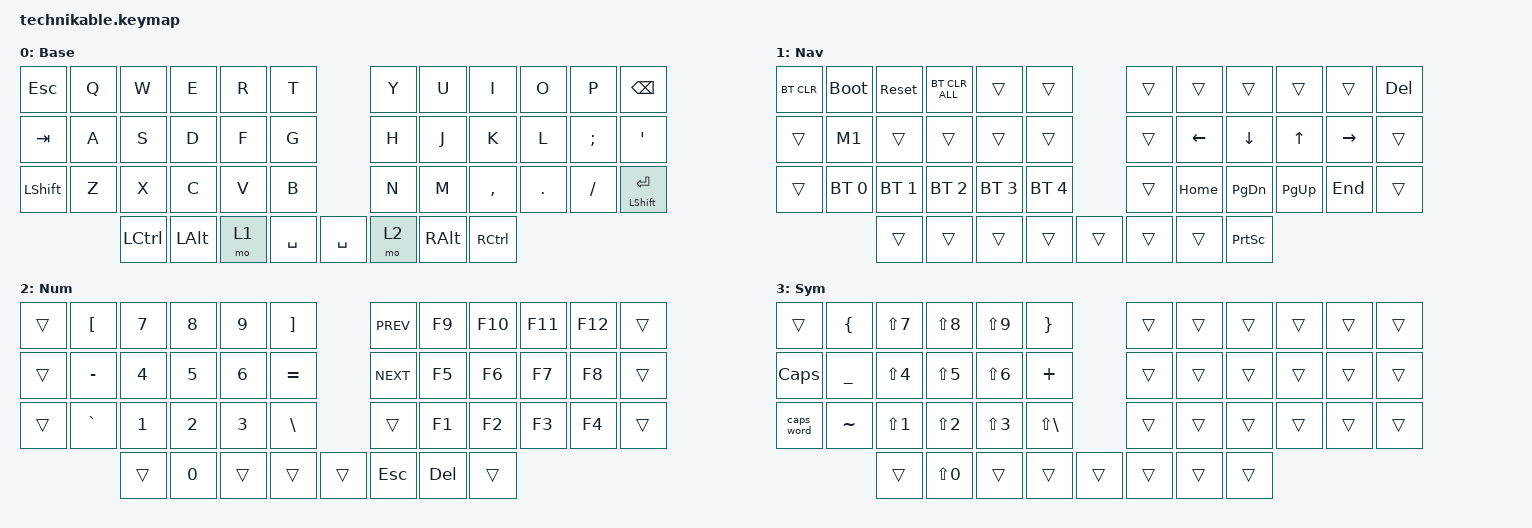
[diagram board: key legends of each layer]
/*
 * Copyright (c) 2022 Pete Johanson
 *
 * SPDX-License-Identifier: MIT
 */

#include <behaviors.dtsi>
#include <dt-bindings/zmk/bt.h>
#include <dt-bindings/zmk/keys.h>

#define BAS_L 0
#define NAV_L 1
#define NUM_L 2
#define SYM_L 3

// Using layer taps on thumbs, having quick tap as well helps w/ repeating space/backspace

&lt { quick_tap_ms = <200>; };

/ {
    chosen { zmk,matrix_transform = &ortho_transform; };

    conditional_layers {
        compatible = "zmk,conditional-layers";

        tri_layer {
            if-layers = <1 2>;
            then-layer = <3>;
        };
    };

    macros {
        M1: M1 {
            compatible = "zmk,behavior-macro";
            #binding-cells = <0>;
            bindings = <&kp PRCNT &kp U &kp S &kp E &kp R &kp N &kp A &kp M &kp E &kp PRCNT>;
            label = "M1";
        };
    };

    keymap {
        compatible = "zmk,keymap";

        base_layer {
            label = "Base";
            bindings = <
&kp ESC    &kp Q  &kp W      &kp E     &kp R  &kp T                 &kp Y  &kp U     &kp I      &kp O    &kp P     &kp BACKSPACE
&kp TAB    &kp A  &kp S      &kp D     &kp F  &kp G                 &kp H  &kp J     &kp K      &kp L    &kp SEMI  &kp APOS
&kp LSHFT  &kp Z  &kp X      &kp C     &kp V  &kp B                 &kp N  &kp M     &kp COMMA  &kp DOT  &kp FSLH  &mt LSHIFT ENTER
                  &kp LCTRL  &kp LALT  &mo 1  &kp SPACE  &kp SPACE  &mo 2  &kp RALT  &kp RCTRL
            >;
        };

        nav_layer {
            label = "Nav";
            bindings = <
&bt BT_CLR  &bootloader   &sys_reset    &bt BT_CLR_ALL  &trans        &trans                &trans  &trans    &trans           &trans        &trans     &kp DEL
&trans      &M1           &trans        &trans          &trans        &trans                &trans  &kp LEFT  &kp DOWN         &kp UP_ARROW  &kp RIGHT  &trans
&trans      &bt BT_SEL 0  &bt BT_SEL 1  &bt BT_SEL 2    &bt BT_SEL 3  &bt BT_SEL 4          &trans  &kp HOME  &kp PG_DN        &kp PG_UP     &kp END    &trans
                          &trans        &trans          &trans        &trans        &trans  &trans  &trans    &kp PRINTSCREEN
            >;
        };

        num_layer {
            label = "Num";
            bindings = <
&trans  &kp LBKT   &kp N7  &kp N8  &kp N9  &kp RBKT           &kp C_PREV  &kp F9   &kp F10  &kp F11  &kp F12  &trans
&trans  &kp MINUS  &kp N4  &kp N5  &kp N6  &kp EQUAL          &kp C_NEXT  &kp F5   &kp F6   &kp F7   &kp F8   &trans
&trans  &kp GRAVE  &kp N1  &kp N2  &kp N3  &kp BSLH           &trans      &kp F1   &kp F2   &kp F3   &kp F4   &trans
                   &trans  &kp N0  &trans  &trans     &trans  &kp ESC     &kp DEL  &trans
            >;
        };

        sym_layer {
            label = "Sym";
            bindings = <
&trans        &kp LBRC        &kp LS(N7)  &kp LS(N8)  &kp LS(N9)  &kp RBRC              &trans  &trans  &trans  &trans  &trans  &trans
&kp CAPSLOCK  &kp UNDERSCORE  &kp LS(N4)  &kp LS(N5)  &kp LS(N6)  &kp PLUS              &trans  &trans  &trans  &trans  &trans  &trans
&caps_word    &kp TILDE       &kp LS(N1)  &kp LS(N2)  &kp LS(N3)  &kp LS(BSLH)          &trans  &trans  &trans  &trans  &trans  &trans
                              &trans      &kp LS(N0)  &trans      &trans        &trans  &trans  &trans  &trans
            >;
        };
    };
};
